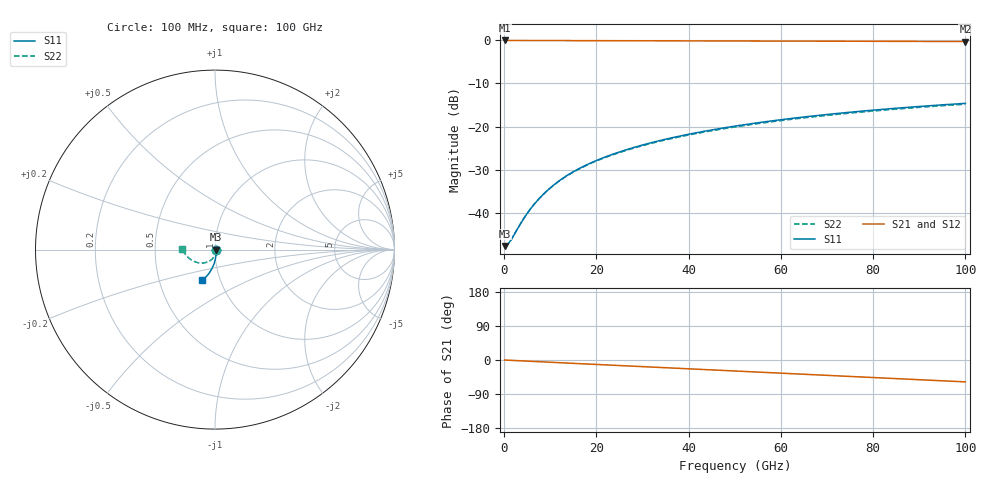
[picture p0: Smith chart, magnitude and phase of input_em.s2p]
#  Hz  S  RI  R  50
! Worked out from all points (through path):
!   1000 points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, 100 MHz to 100 GHz, reference 50 ohm
!   highest |S21| = -0.04 dB at 100 MHz (marker M1); lowest = -0.3 dB at 100 GHz (marker M2)
!   group delay of S21, straight-line fit = 1.6 ps
!   lowest |S11| = -47.6 dB at 100 MHz (marker M3), VSWR 1.01, Z = 50.4 - j0.0166 ohm
!   |S11| at or under -10 dB: start of sweep to end of sweep
!   |S22| runs from -47.7 to -14.8 dB; largest |S21 - S12| = 0.0026
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1e8  0.00414 -0.000164  0.9959 -0.00106  0.9959 -0.00106  0.00413 -0.000173
6e8  0.00416 -0.000986  0.9959 -0.00637  0.9959 -0.00638  0.00413 -0.00104
1.2e9  0.00419 -0.00198  0.9958 -0.0127  0.9958 -0.0127  0.00414 -0.00208
1.9e9  0.00427 -0.00314  0.9956 -0.0201  0.9956 -0.0202  0.00416 -0.00331
3.7e9  0.00457 -0.00624  0.9946 -0.0391  0.9946 -0.0391  0.0042 -0.00656
4.9e9  0.00484 -0.00842  0.9936 -0.0515  0.9936 -0.0516  0.0042 -0.00881
6.4e9  0.00519 -0.0113  0.9921 -0.0669  0.9921 -0.067  0.00411 -0.0117
8.1e9  0.00554 -0.0147  0.9902 -0.0842  0.9902 -0.0842  0.00383 -0.0152
1e10  0.0058 -0.0187  0.9878 -0.1032  0.9878 -0.1033  0.00323 -0.0192
1.21e10  0.00586 -0.0232  0.9848 -0.1241  0.9849 -0.1242  0.00216 -0.0237
1.43e10  0.00569 -0.028  0.9814 -0.1459  0.9814 -0.146  0.000578 -0.0283
1.68e10  0.00523 -0.0335  0.977 -0.1706  0.977 -0.1707  -0.00173 -0.0335
2.02e10  0.00429 -0.0408  0.9699 -0.204  0.97 -0.2042  -0.00561 -0.0401
2.41e10  0.00289 -0.049  0.9603 -0.2419  0.9604 -0.2421  -0.0109 -0.0471
2.85e10  0.00094 -0.0582  0.9477 -0.2841  0.9478 -0.2844  -0.018 -0.0543
3.34e10  -0.00176 -0.0683  0.9316 -0.3303  0.9317 -0.3306  -0.0271 -0.0614
4.11e10  -0.00702 -0.0836  0.9016 -0.4009  0.9018 -0.4014  -0.0438 -0.0696
5.01e10  -0.0144 -0.1006  0.8596 -0.4798  0.8599 -0.4805  -0.0658 -0.0746
5.8e10  -0.0219 -0.1146  0.8171 -0.5453  0.8174 -0.5462  -0.0866 -0.0742
6.67e10  -0.0311 -0.1289  0.7644 -0.6127  0.7648 -0.6139  -0.1099 -0.0685
8.34e10  -0.0505 -0.1528  0.6485 -0.7272  0.6488 -0.729  -0.1515 -0.042
1e11  -0.071 -0.1721  0.5172 -0.8189  0.5172 -0.8216  -0.182 0.00305
